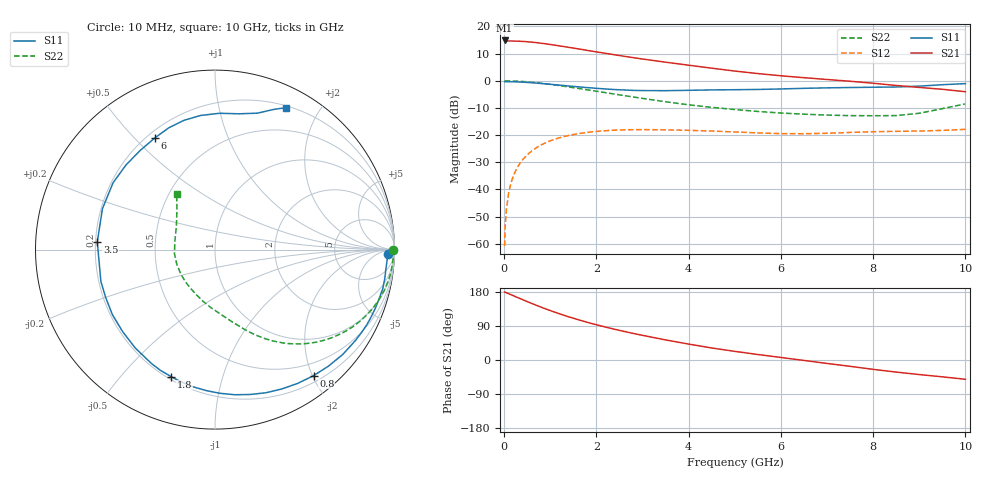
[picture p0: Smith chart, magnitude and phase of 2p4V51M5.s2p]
! (c) 2009  Infineon Technologies AG, Munich
! Infineon Technologies  Discrete & RF Semiconductors
! BFP420
! VCE =  4.5 V,  IC =  1.5 mA
! Common Emitter S-Parameters:  Nov 2009
# GHz  S  MA  R  50
!  f  S11  S21  S12  S22
! GHz  MAG  ANG  MAG  ANG  MAG  ANG  MAG  ANG
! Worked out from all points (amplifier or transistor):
!   46 points, 10 MHz to 10 GHz, reference 50 ohm
!   highest |S21| = 14.8 dB at 10 MHz (marker M1)
!   |S21| within 3 dB of that: start of sweep to 1.57 GHz
!   unconditionally stable (mu >= 1): 4.175 GHz to end of sweep
!   at 300 MHz: K = 0.05, MSG = 23.1 dB, |S12| = -31.6 dB
!   at 1.7 GHz: K = 0.29, MSG = 15.4 dB, |S12| = -19.2 dB
!   at 10 GHz: K = 1.27, MAG = 3.8 dB, |S12| = -17.9 dB
!   lowest NFmin = 0.52 dB at 900 MHz
!   S11 on the Smith chart (normalised r, x): 10 MHz: 39, -23; 800 MHz: 0.29, -2.02; 1.8 GHz: 0.21, -0.69; 3.5 GHz: 0.21, +0.03; 6 GHz: 0.23, +0.57; 10 GHz: 0.22, +1.60
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0.01  0.9628 -1.3  5.526 179.2  0.0009 54.1  0.9936 0.0
0.02  0.9622 -1.2  5.35 179.2  0.0019 71.4  0.9935 -0.6
0.05  0.961 -3.2  5.38 177.3  0.0044 76.9  0.994 -1.6
0.1  0.9583 -6.6  5.407 174.8  0.0089 81.7  0.9934 -3.4
0.2  0.9597 -13.1  5.397 169.7  0.0177 80.4  0.9885 -6.9
0.5  0.9325 -32.8  5.229 154.1  0.0432 70.3  0.9558 -16.9
0.8  0.8915 -52.0  4.91 139.5  0.0656 59.7  0.9016 -26.2
1  0.8608 -64.5  4.661 130.4  0.0784 53.0  0.859 -31.9
1.2  0.8306 -76.4  4.389 121.9  0.0893 46.8  0.8137 -37.2
1.4  0.8012 -88.0  4.127 113.9  0.0984 41.0  0.7687 -42.0
1.7  0.7612 -104.2  3.756 103.0  0.1091 33.2  0.7029 -48.4
1.8  0.7486 -109.1  3.625 99.5  0.1119 30.7  0.6823 -50.3
2.2  0.706 -128.9  3.2 86.8  0.1204 21.9  0.604 -57.5
2.6  0.6769 -147.7  2.829 75.4  0.1249 14.1  0.5336 -63.9
3  0.6601 -164.4  2.516 65.1  0.1261 7.5  0.474 -69.7
3.5  0.6572 176.3  2.199 53.0  0.1249 0.8  0.4105 -77.1
4.5  0.679 146.8  1.706 31.7  0.1186 -8.7  0.3239 -94.1
5.5  0.692 127.0  1.357 14.5  0.1096 -13.2  0.2722 -112.3
6  0.7069 118.3  1.236 6.7  0.1064 -13.5  0.2546 -122.6
7  0.7407 103.5  1.056 -9.1  0.1079 -12.8  0.2332 -145.2
8.5  0.7685 79.9  0.819 -31.9  0.1171 -16.8  0.2285 167.9
10  0.8857 63.3  0.628 -50.9  0.1275 -19.1  0.3754 124.6
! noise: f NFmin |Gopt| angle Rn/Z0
0.9  0.52  0.55  33  0.27
1.8  1.07  0.35  77  0.21
2.4  1.18  0.36  101  0.18
3  1.41  0.36  134  0.13
4  1.68  0.4  -172  0.1
5  2.08  0.44  -130  0.32
6  2.89  0.57  -114  0.39
